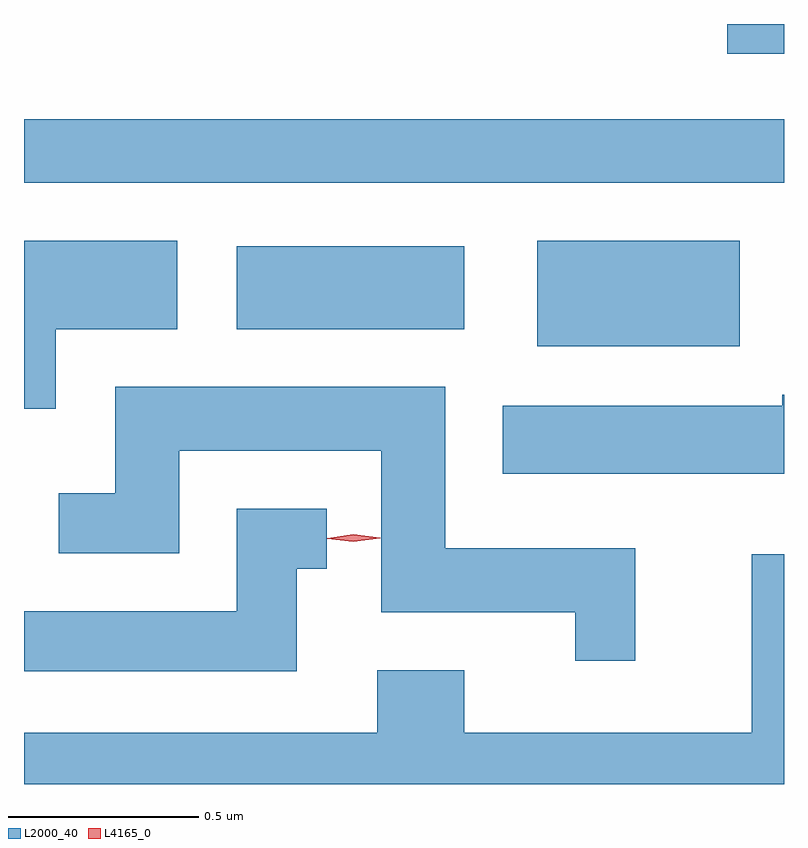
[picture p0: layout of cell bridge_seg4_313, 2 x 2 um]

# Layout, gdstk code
import gdstk
lib = gdstk.Library(unit=1e-6, precision=1e-09)
def R(c, l, rs):  # rectangles x0, y0, x1, y1
    for r in rs: c.add(gdstk.rectangle(r[:2], r[2:], *l))
def P(c, l, *ps):  # polygons
    for p in ps: c.add(gdstk.Polygon(p, *l))
L2000_40 = (2000, 40)
L4165_0 = (4165, 0)

bridge_seg4_313 = lib.new_cell('bridge_seg4_313')
R(bridge_seg4_313, L2000_40, [(511.731,1271.601,512.264,1271.879), (510.941,1271.646,511.539,1271.864), (510.381,1272.031,512.381,1272.199), (512.231,1272.371,512.381,1272.449)])
P(bridge_seg4_313, L2000_40, [(510.464,1271.646),(510.784,1271.646),(510.784,1271.879),(510.381,1271.879),(510.381,1271.436),(510.464,1271.436)],
  [(511.989,1271.069),(511.489,1271.069),(511.489,1271.494),(510.621,1271.494),(510.621,1271.214),(510.473,1271.214),(510.473,1271.056),(510.789,1271.056),(510.789,1271.326),(511.321,1271.326),(511.321,1270.901),(511.831,1270.901),(511.831,1270.773),(511.989,1270.773)],
  [(512.381,1271.474),(512.376,1271.474),(512.376,1271.444),(511.641,1271.444),(511.641,1271.266),(512.381,1271.266)],
  [(511.099,1271.016),(511.178,1271.016),(511.178,1271.174),(510.941,1271.174),(510.941,1270.904),(510.381,1270.904),(510.381,1270.746),(511.099,1270.746)],
  [(512.381,1271.053),(512.296,1271.053),(512.296,1270.584),(511.539,1270.584),(511.539,1270.749),(511.311,1270.749),(511.311,1270.584),(510.381,1270.584),(510.381,1270.449),(512.381,1270.449)])
P(bridge_seg4_313, L4165_0, [(511.248,1271.086),(511.179,1271.095),(511.179,1271.096),(511.179,1271.096),(511.248,1271.106),(511.318,1271.097),(511.318,1271.096),(511.318,1271.096)])

lib.write_gds('bridge_seg4_313.gds')
